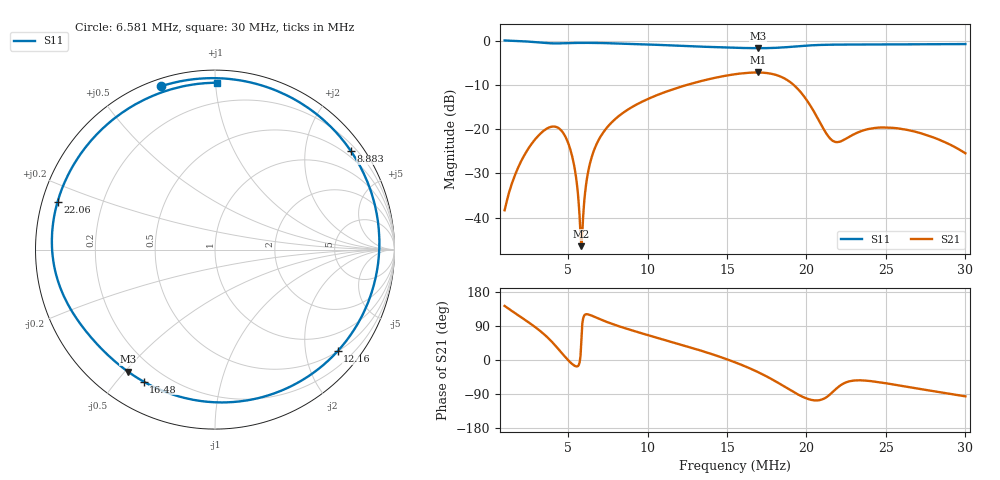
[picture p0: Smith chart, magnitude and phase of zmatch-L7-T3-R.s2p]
# HZ S RI R 50
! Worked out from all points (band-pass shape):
!   505 points, 1 MHz to 30 MHz, reference 50 ohm
!   highest |S21| = -7.08 dB at 16.94 MHz (marker M1); lowest = -46.5 dB at 5.833 MHz (marker M2)
!   |S21| within 3 dB of the highest: 12.31 MHz to 19.25 MHz (6.939 MHz wide, 44 % of centre)
!   lowest |S11| = -1.6 dB at 16.94 MHz (marker M3), VSWR 11.11, Z = 5.68 - j25.5 ohm
!   |S11| at or under -10 dB: nowhere
!   S12 and S22 are empty: the file has one direction only
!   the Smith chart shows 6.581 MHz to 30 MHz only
!   S11 on the Smith chart (normalised r, x): 6.581 MHz: 0.03, +0.72; 8.883 MHz: 0.35, +3.05; 12.16 MHz: 0.51, -2.69; 16.48 MHz: 0.12, -0.59; 22.06 MHz: 0.04, +0.15; 30 MHz: 0.07, +1.01
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1000000  -0.6233 0.8093  -0.00963 0.00731  0 0  0 0
2208340  0.3718 0.927  -0.0154 0.0473  0 0  0 0
3186520  0.9691 0.0074  0.0176 0.0854  0 0  0 0
3819460  0.4937 -0.8118  0.061 0.0861  0 0  0 0
4222240  -0.1502 -0.9337  0.0858 0.0638  0 0  0 0
4970260  -0.9194 -0.2493  0.0723 0.001  0 0  0 0
5430580  -0.9206 0.2623  0.0329 -0.00927  0 0  0 0
5833360  -0.7532 0.5941  0.00268 0.0039  0 0  0 0
6178600  -0.5537 0.7837  -0.0141 0.0236  0 0  0 0
6581380  -0.3011 0.9098  -0.0235 0.0498  0 0  0 0
7559560  0.2632 0.9138  -0.0163 0.1099  0 0  0 0
8882980  0.7576 0.5485  0.0304 0.1706  0 0  0 0
1.066672e7  0.9024 -0.1184  0.1322 0.2097  0 0  0 0
1.216276e7  0.6826 -0.5665  0.2365 0.1967  0 0  0 0
1.550008e7  -0.1806 -0.8238  0.4204 -0.0446  0 0  0 0
1.647826e7  -0.3973 -0.7359  0.4058 -0.1714  0 0  0 0
1.693858e7  -0.4843 -0.6801  0.3763 -0.2328  0 0  0 0
1.860724e7  -0.734 -0.4356  0.1298 -0.3563  0 0  0 0
2.033344e7  -0.8949 -0.0981  -0.0467 -0.1685  0 0  0 0
2.205964e7  -0.8772 0.2663  0.0256 -0.0676  0 0  0 0
2.51668e7  -0.582 0.7136  0.0484 -0.0932  0 0  0 0
3.000016e7  0.0109 0.9297  -0.00549 -0.0533  0 0  0 0
